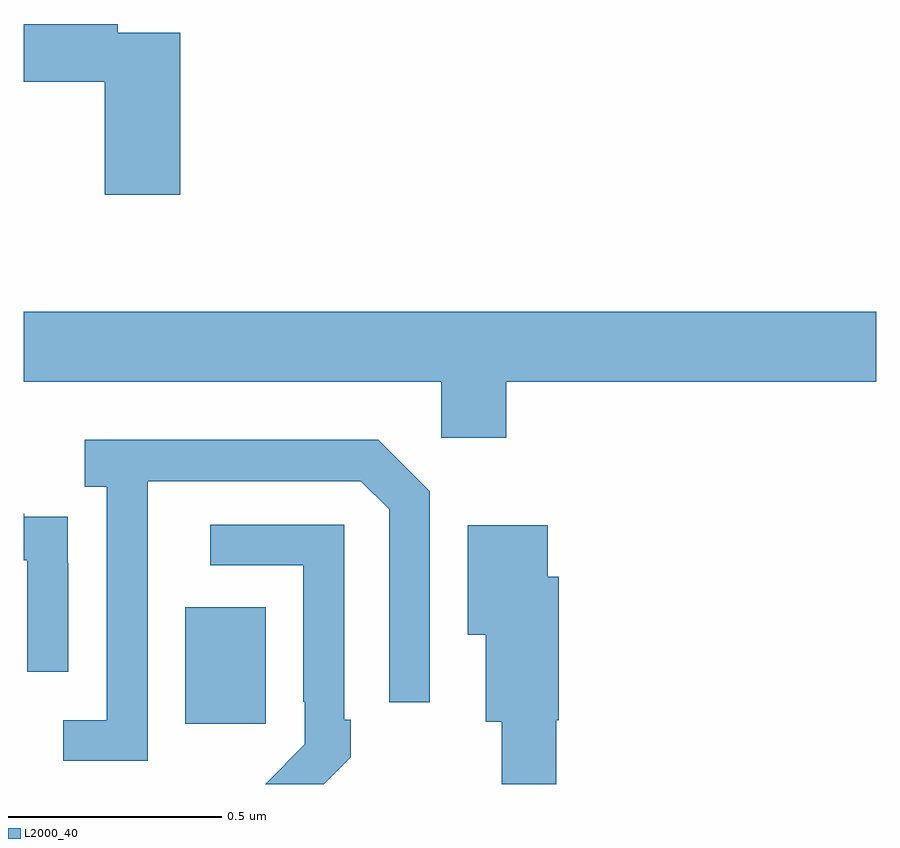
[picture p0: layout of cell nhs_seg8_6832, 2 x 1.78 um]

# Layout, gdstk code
import gdstk
lib = gdstk.Library(unit=1e-6, precision=1e-09)
def R(c, l, rs):  # rectangles x0, y0, x1, y1
    for r in rs: c.add(gdstk.rectangle(r[:2], r[2:], *l))
def P(c, l, *ps):  # polygons
    for p in ps: c.add(gdstk.Polygon(p, *l))
L2000_40 = (2000, 40)

nhs_seg8_6832 = lib.new_cell('nhs_seg8_6832')
R(nhs_seg8_6832, L2000_40, [(202.379,1105.041,202.567,1105.315)])
P(nhs_seg8_6832, L2000_40, [(202.367,1106.664),(202.22,1106.664),(202.22,1106.684),(202,1106.684),(202,1106.548),(202.189,1106.548),(202.189,1106.283),(202.367,1106.283)],
  [(203.132,1105.844),(204,1105.844),(204,1106.008),(202,1106.008),(202,1105.844),(202.98,1105.844),(202.98,1105.713),(203.132,1105.713)],
  [(202.29,1105.411),(202.291,1105.411),(202.291,1105.611),(202.791,1105.611),(202.857,1105.545),(202.857,1105.092),(202.953,1105.092),(202.953,1105.587),(202.832,1105.708),(202.143,1105.708),(202.143,1105.598),(202.194,1105.598),(202.194,1105.05),(202.092,1105.05),(202.092,1104.954),(202.29,1104.954)],
  [(202.104,1105.418),(202.103,1105.418),(202.103,1105.527),(202.001,1105.527),(202.001,1105.534),(202,1105.534),(202,1105.425),(202.008,1105.425),(202.008,1105.164),(202.104,1105.164)],
  [(202.767,1104.963),(202.767,1105.051),(202.752,1105.051),(202.752,1105.509),(202.437,1105.509),(202.437,1105.413),(202.656,1105.413),(202.656,1105.093),(202.659,1105.093),(202.659,1104.993),(202.566,1104.9),(202.704,1104.9)],
  [(203.249,1105.05),(203.255,1105.05),(203.255,1105.386),(203.23,1105.386),(203.23,1105.507),(203.042,1105.507),(203.042,1105.25),(203.084,1105.25),(203.084,1105.046),(203.121,1105.046),(203.121,1104.9),(203.249,1104.9)])

lib.write_gds('nhs_seg8_6832.gds')
